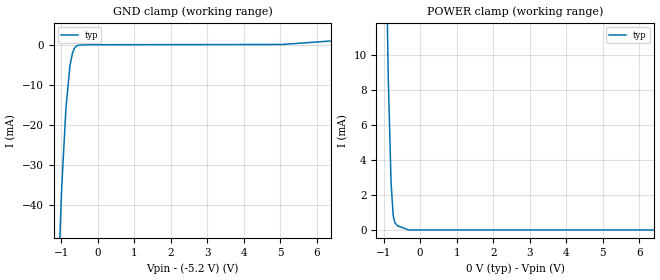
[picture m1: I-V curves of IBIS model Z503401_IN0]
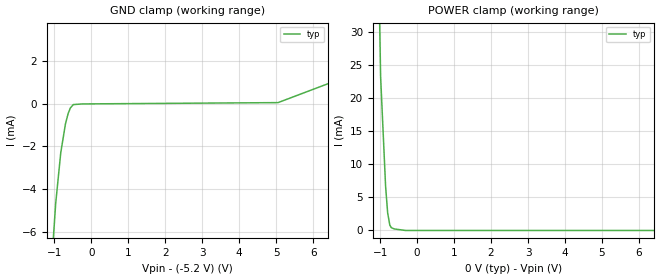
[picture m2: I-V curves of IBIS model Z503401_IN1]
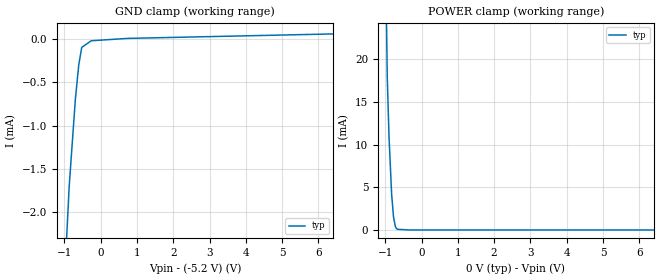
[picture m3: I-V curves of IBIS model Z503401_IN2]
| YOU ARE ONLY AUTHORIZED TO USE THIS SOFTWARE
| ACCORDING TO LICENSOR'S LICENSE RESTRICTIONS.
[IBIS Ver] 3.1
[File Name] mc10e137fn.ibs
[File Rev] 2.0
[Source] Measured and created by ICX Technology
[Date] Friday 7/14/00 9:07:48 AM
[Copyright]
| (C) COPYRIGHT 1993-2000
| MENTOR GRAPHICS CORPORATION
| ICX STANDARD LIBRARY, ICX PROJECT MODELING,
| ICX CUSTOM MODELING, ICX VENDOR MODEL
| ALL RIGHTS RESERVED.
| THE FOLLOWING ARE TRADEMARKS OR SERVICE MARKS OF
| MENTOR GRAPHICS CORPORATION:ICX (R), ICX STANDARD
| LIBRARY(R), ICX PROJECT MODELING(R), ICX CUSTOM
| MODELING(R), qualityIBIS(TM), MODELVIEWER(TM),
| AND MODELEDITOR(TM)
| ALL COPIES OF SOFTWARE, INCLUDING BUT NOT LIMITED TO
| ANY MODIFICATIONS, ENHANCEMENTS OR DERIVATIVE WORKS,
| MUST CONTAIN ALL MENTOR GRAPHICS CORPORATION'S
| NOTICES AND LEGENDS, INCLUDING THOSE EMBEDDED IN
| SOFTWARE AND THOSE AFFIXED TO SOFTWARE MEDIUM
| AND CONTAINER, AS RECEIVED FROM MENTOR GRAPHICS
| CORPORATION.
|  ZAP Model Builder 2.7
[Component] MC10E137FN
[Manufacturer] OnSemiconductor
[Package]
| variable   typ   min   max
R_pkg  .083ohms NA NA
L_pkg  4.299nH NA NA
C_pkg  1.045pF NA NA
[Pin] signal_name  model_name  R_pin  L_pin C_pin
1 VEE POWER .08 3.94n .925p
2 CLK Z503401_IN0 .082 4.14n .995p
3 _CLK Z503401_IN1 .084 4.354n 1.065p
4 VBB POWER .086 4.583n 1.135p
5 MR Z503401_IN2 .086 4.583n 1.135p
6 VCCO POWER .084 4.354n 1.065p
7 Q0 Z503401_OUT0 .082 4.14n .995p
8 _Q0 Z503401_OUT1 .08 3.94n .925p
9 Q1 Z503401_OUT0 .082 4.14n .995p
10 _Q1 Z503401_OUT1 .084 4.354n 1.065p
11 VCCO POWER .086 4.583n 1.135p
12 _Q2 Z503401_OUT1 .086 4.583n 1.135p
13 Q2 Z503401_OUT0 .084 4.354n 1.065p
14 Q3 Z503401_OUT0 .082 4.14n .995p
15 _Q3 Z503401_OUT1 .08 3.94n .925p
16 VCC POWER .082 4.14n .995p
17 Q4 Z503401_OUT0 .084 4.354n 1.065p
18 _Q4 Z503401_OUT1 .086 4.583n 1.135p
19 _Q5 Z503401_OUT1 .086 4.583n 1.135p
20 Q5 Z503401_OUT0 .084 4.354n 1.065p
21 VCCO POWER .082 4.14n .995p
22 _Q6 Z503401_OUT1 .08 3.94n .925p
23 Q6 Z503401_OUT0 .082 4.14n .995p
24 _Q7 Z503401_OUT1 .084 4.354n 1.065p
25 Q7 Z503401_OUT0 .086 4.583n 1.135p
26 EN Z503401_IN3 .086 4.583n 1.135p
27 EB1 Z503401_IN4 .084 4.354n 1.065p
28 EB2 Z503401_IN4 .082 4.14n .995p
| Models and submodels in the file (7): Z503401_IN0 (Input_ECL), Z503401_IN1 (Input_ECL), Z503401_IN2 (Input_ECL), Z503401_IN3 (Input_ECL), Z503401_IN4 (Input_ECL), Z503401_OUT0 (Output_ECL), Z503401_OUT1 (Output_ECL)
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| (C) COPYRIGHT 1993-2000
| MENTOR GRAPHICS CORPORATION
| ICX STANDARD LIBRARY, ICX PROJECT MODELING,
| ICX CUSTOM MODELING, ICX VENDOR MODEL
| ALL RIGHTS RESERVED.
| THE FOLLOWING ARE TRADEMARKS OR SERVICE MARKS OF
| MENTOR GRAPHICS CORPORATION:ICX (R), ICX STANDARD
| LIBRARY(R), ICX PROJECT MODELING(R), ICX CUSTOM
| MODELING(R), qualityIBIS(TM), MODELVIEWER(TM),
| AND MODELEDITOR(TM)
| ALL COPIES OF SOFTWARE, INCLUDING BUT NOT LIMITED TO
| ANY MODIFICATIONS, ENHANCEMENTS OR DERIVATIVE WORKS,
| MUST CONTAIN ALL MENTOR GRAPHICS CORPORATION'S
| NOTICES AND LEGENDS, INCLUDING THOSE EMBEDDED IN
| SOFTWARE AND THOSE AFFIXED TO SOFTWARE MEDIUM
| AND CONTAINER, AS RECEIVED FROM MENTOR GRAPHICS
| CORPORATION.
| Model Application Version 1.89 2/18/99.
[Model] Z503401_IN0
Model_type Input_ECL
Vinl = -1.480V
Vinh = -1.130V
C_comp 4.000pF NA NA
| variable typ   min   max
[Voltage Range] -5.200V NA NA
[GND Clamp Reference] -5.200V NA NA
[POWER Clamp Reference] 0.000V NA NA
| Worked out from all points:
|   GND clamp passes 1 mA (typ) near -0.64 V on its own axis
|   POWER clamp passes 1 mA (typ) near -0.74 V on its own axis
[GND Clamp]
-5.2V     -1.058A    NA         NA
-984mV    -35.55mA   NA         NA
-868mV    -15.77mA   NA         NA
-757mV    -5.148mA   NA         NA
-687mV    -2.042mA   NA         NA
-639mV    -977.7uA   NA         NA
-604mV    -540.7uA   NA         NA
-567mV    -269.8uA   NA         NA
-524mV    -122.5uA   NA         NA
-262mV    -20.83uA   NA         NA
5.05V     41.57uA    NA         NA
10.4V     3.502mA    NA         NA
[POWER Clamp]
-5.2V     1.265A     NA         NA
-1.133V   51.95mA    NA         NA
-1.025V   29mA       NA         NA
-873.8mV  8.726mA    NA         NA
-795.4mV  2.676mA    NA         NA
-737.1mV  820.8uA    NA         NA
-697.7mV  436.3uA    NA         NA
-621.1mV  237.5uA    NA         NA
-310.6mV  0A         NA         NA
10.4V     0A         NA         NA
| (C) COPYRIGHT 1993-2000
| MENTOR GRAPHICS CORPORATION
| ICX STANDARD LIBRARY, ICX PROJECT MODELING,
| ICX CUSTOM MODELING, ICX VENDOR MODEL
| ALL RIGHTS RESERVED.
| THE FOLLOWING ARE TRADEMARKS OR SERVICE MARKS OF
| MENTOR GRAPHICS CORPORATION:ICX (R), ICX STANDARD
| LIBRARY(R), ICX PROJECT MODELING(R), ICX CUSTOM
| MODELING(R), qualityIBIS(TM), MODELVIEWER(TM),
| AND MODELEDITOR(TM)
| ALL COPIES OF SOFTWARE, INCLUDING BUT NOT LIMITED TO
| ANY MODIFICATIONS, ENHANCEMENTS OR DERIVATIVE WORKS,
| MUST CONTAIN ALL MENTOR GRAPHICS CORPORATION'S
| NOTICES AND LEGENDS, INCLUDING THOSE EMBEDDED IN
| SOFTWARE AND THOSE AFFIXED TO SOFTWARE MEDIUM
| AND CONTAINER, AS RECEIVED FROM MENTOR GRAPHICS
| CORPORATION.
| Model Application Version 1.89 2/18/99.
[Model] Z503401_IN1
Model_type Input_ECL
Vinl = -1.480V
Vinh = -1.130V
C_comp 4.000pF NA NA
| variable typ   min   max
[Voltage Range] -5.200V NA NA
[GND Clamp Reference] -5.200V NA NA
[POWER Clamp Reference] 0.000V NA NA
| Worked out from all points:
|   GND clamp passes 1 mA (typ) near -0.70 V on its own axis
|   POWER clamp passes 1 mA (typ) near -0.74 V on its own axis
[GND Clamp]
-5.2V     -226.1mA   NA         NA
-1.054V   -7.003mA   NA         NA
-962mV    -4.66mA    NA         NA
-825mV    -2.294mA   NA         NA
-698mV    -948.1uA   NA         NA
-625mV    -463.6uA   NA         NA
-567mV    -212uA     NA         NA
-486mV    -49.81uA   NA         NA
5.05V     43.27uA    NA         NA
10.4V     3.538mA    NA         NA
[POWER Clamp]
-5.2V     1.339A     NA         NA
-986.3mV  23.22mA    NA         NA
-851.7mV  6.661mA    NA         NA
-795.8mV  2.643mA    NA         NA
-737.3mV  809.1uA    NA         NA
-697.6mV  428uA      NA         NA
-621.6mV  235.8uA    NA         NA
-310.8mV  0A         NA         NA
10.4V     0A         NA         NA
| (C) COPYRIGHT 1993-2000
| MENTOR GRAPHICS CORPORATION
| ICX STANDARD LIBRARY, ICX PROJECT MODELING,
| ICX CUSTOM MODELING, ICX VENDOR MODEL
| ALL RIGHTS RESERVED.
| THE FOLLOWING ARE TRADEMARKS OR SERVICE MARKS OF
| MENTOR GRAPHICS CORPORATION:ICX (R), ICX STANDARD
| LIBRARY(R), ICX PROJECT MODELING(R), ICX CUSTOM
| MODELING(R), qualityIBIS(TM), MODELVIEWER(TM),
| AND MODELEDITOR(TM)
| ALL COPIES OF SOFTWARE, INCLUDING BUT NOT LIMITED TO
| ANY MODIFICATIONS, ENHANCEMENTS OR DERIVATIVE WORKS,
| MUST CONTAIN ALL MENTOR GRAPHICS CORPORATION'S
| NOTICES AND LEGENDS, INCLUDING THOSE EMBEDDED IN
| SOFTWARE AND THOSE AFFIXED TO SOFTWARE MEDIUM
| AND CONTAINER, AS RECEIVED FROM MENTOR GRAPHICS
| CORPORATION.
| Model Application Version 1.89 2/18/99.
[Model] Z503401_IN2
Model_type Input_ECL
Vinl = -1.480V
Vinh = -1.130V
C_comp 4.000pF NA NA
| variable typ   min   max
[Voltage Range] -5.200V NA NA
[GND Clamp Reference] -5.200V NA NA
[POWER Clamp Reference] 0.000V NA NA
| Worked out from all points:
|   GND clamp passes 1 mA (typ) near -0.75 V on its own axis
|   POWER clamp passes 1 mA (typ) near -0.75 V on its own axis
[GND Clamp]
-5.2V     -89.5mA    NA         NA
-1.401V   -8.351mA   NA         NA
-1.265V   -6mA       NA         NA
-1.162V   -4.524mA   NA         NA
-1.035V   -3.099mA   NA         NA
-869mV    -1.702mA   NA         NA
-699mV    -692.6uA   NA         NA
-606mV    -298uA     NA         NA
-524mV    -95.43uA   NA         NA
-262mV    -18.2uA    NA         NA
730mV     9.103uA    NA         NA
10.4V     97.44uA    NA         NA
[POWER Clamp]
-5.2V     1.791A     NA         NA
-1.055V   52.63mA    NA         NA
-945.2mV  17.9mA     NA         NA
-898mV    11.04mA    NA         NA
-824.9mV  4.2mA      NA         NA
-772.6mV  1.511mA    NA         NA
-722.6mV  426.9uA    NA         NA
-703.4mV  244.7uA    NA         NA
-666.3mV  76.78uA    NA         NA
-333.1mV  0A         NA         NA
10.4V     0A         NA         NA
